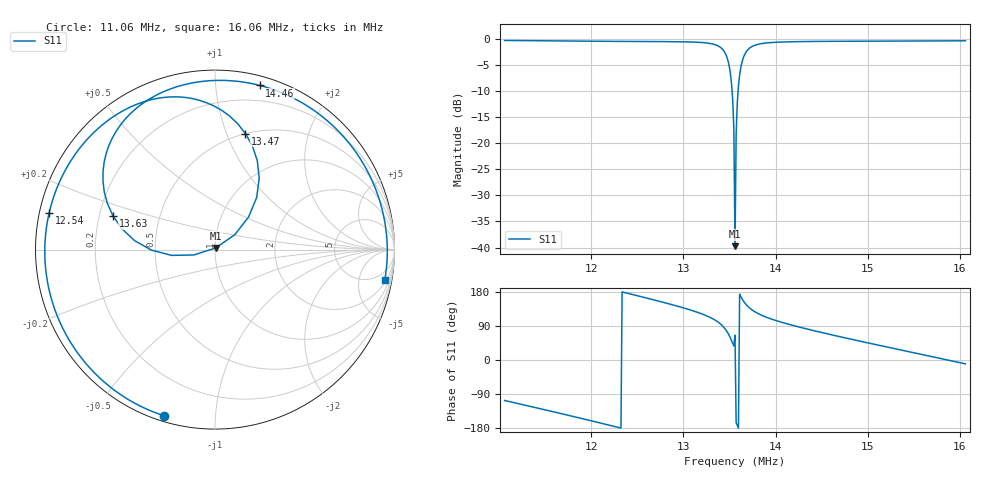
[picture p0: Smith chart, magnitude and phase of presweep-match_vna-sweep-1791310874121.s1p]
! TC-POWER VNA auto-tune export
# Hz S RI R 50
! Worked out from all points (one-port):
!   401 points, 11.06 MHz to 16.06 MHz, reference 50 ohm
!   lowest |S11| = -39.7 dB at 13.56 MHz (marker M1), VSWR 1.02, Z = 50.4 + j0.947 ohm
!   |S11| at or under -10 dB: 13.52826 MHz to 13.59364 MHz (65.38 kHz wide, 0.482 % of centre)
!   S11 on the Smith chart (normalised r, x): 11.06 MHz: 0.02, -0.74; 12.54 MHz: 0.03, +0.11; 13.47 MHz: 0.50, +1.17; 13.63 MHz: 0.26, +0.15; 14.46 MHz: 0.07, +1.31; 16.06 MHz: 2, -11
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1.106e7  -0.2818 -0.9265
1.136e7  -0.5337 -0.8024
1.1685e7  -0.7563 -0.5879
1.201e7  -0.9007 -0.3095
1.231e7  -0.9482 -0.0197
1.2535e7  -0.9244 0.2033
1.2935e7  -0.7428 0.5785
1.31725e7  -0.5215 0.7684
1.3335e7  -0.254 0.8502
1.34225e7  -0.00713 0.8011
1.34725e7  0.1698 0.6464
1.351e7  0.2462 0.398
1.35225e7  0.2324 0.2907
1.3535e7  0.1874 0.1822
1.35475e7  0.1106 0.0833
1.356e7  0.00426 0.00939
1.3585e7  -0.2423 -0.0322
1.35975e7  -0.3547 -0.0027
1.361e7  -0.4474 0.0496
1.3635e7  -0.567 0.1853
1.371e7  -0.608 0.529
1.381e7  -0.4793 0.7493
1.396e7  -0.2807 0.8824
1.4185e7  -0.0239 0.9414
1.446e7  0.2488 0.9148
1.481e7  0.541 0.7829
1.5435e7  0.883 0.3666
1.606e7  0.9461 -0.1688
